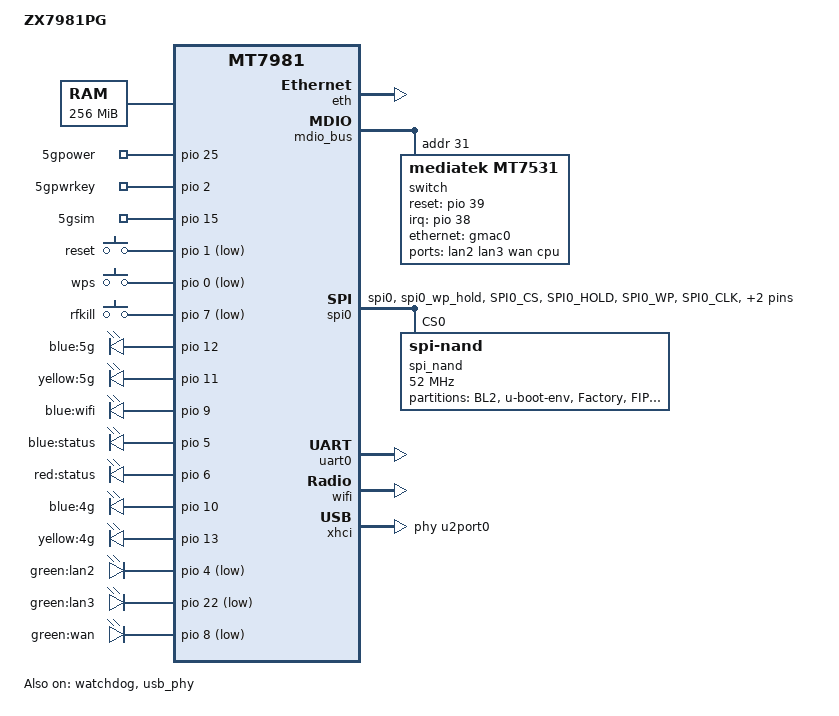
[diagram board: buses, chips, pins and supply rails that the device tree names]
// SPDX-License-Identifier: GPL-2.0-or-later OR MIT
/*
 * ZX7981PG (MediaTek MT7981B / Filogic 820)
 * Ported to ImmortalWrt kernel 6.6 from wireless-tag/zx-mtk-openwrt
 * Optimized for Quectel RM521F-GL (Snapdragon X65) in M.2 USB3 slot
 */

/dts-v1/;
#include <dt-bindings/gpio/gpio.h>
#include <dt-bindings/input/input.h>
#include <dt-bindings/leds/common.h>
#include "mt7981.dtsi"

/ {
	model = "ZX7981PG";
	compatible = "wireless-tag,zx7981pg", "mediatek,mt7981";

	aliases {
		serial0 = &uart0;
		label-mac-device = &gmac0;
		led-boot = &led_blue;
		led-failsafe = &led_red;
		led-running = &led_blue;
		led-upgrade = &led_blue;
	};

	chosen {
		stdout-path = "serial0:115200n8";
	};

	memory@40000000 {
		device_type = "memory";
		reg = <0 0x40000000 0 0x10000000>;
	};

	/* Modem power control GPIOs for M.2 slot (RM521F-GL USB3 path) */
	gpio-export {
		compatible = "gpio-export";

		modem-power {
			gpio-export,name = "5gpower";
			gpio-export,output = <0>;
			gpios = <&pio 25 GPIO_ACTIVE_HIGH>;
		};

		modem-pwrkey {
			gpio-export,name = "5gpwrkey";
			gpio-export,output = <0>;
			gpios = <&pio 2 GPIO_ACTIVE_HIGH>;
		};

		modem-sim {
			gpio-export,name = "5gsim";
			gpio-export,output = <1>;
			gpios = <&pio 15 GPIO_ACTIVE_HIGH>;
		};
	};

	gpio-keys {
		compatible = "gpio-keys";

		reset {
			label = "reset";
			linux,code = <KEY_RESTART>;
			gpios = <&pio 1 GPIO_ACTIVE_LOW>;
		};

		wps {
			label = "wps";
			linux,code = <KEY_WPS_BUTTON>;
			gpios = <&pio 0 GPIO_ACTIVE_LOW>;
		};

		rfkill {
			label = "rfkill";
			linux,code = <KEY_RFKILL>;
			gpios = <&pio 7 GPIO_ACTIVE_LOW>;
		};
	};

	gpio-leds {
		compatible = "gpio-leds";

		led-5g-blue {
			label = "blue:5g";
			gpios = <&pio 12 GPIO_ACTIVE_HIGH>;
		};

		led-5g-yellow {
			label = "yellow:5g";
			gpios = <&pio 11 GPIO_ACTIVE_HIGH>;
		};

		led-wifi {
			label = "blue:wifi";
			gpios = <&pio 9 GPIO_ACTIVE_HIGH>;
		};

		led_blue: led-blue {
			label = "blue:status";
			gpios = <&pio 5 GPIO_ACTIVE_HIGH>;
			linux,default-trigger = "heartbeat";
		};

		led_red: led-red {
			label = "red:status";
			gpios = <&pio 6 GPIO_ACTIVE_HIGH>;
		};

		led-4g-blue {
			label = "blue:4g";
			gpios = <&pio 10 GPIO_ACTIVE_HIGH>;
		};

		led-4g-yellow {
			label = "yellow:4g";
			gpios = <&pio 13 GPIO_ACTIVE_HIGH>;
		};

		led-lan2 {
			label = "green:lan2";
			gpios = <&pio 4 GPIO_ACTIVE_LOW>;
		};

		led-lan3 {
			label = "green:lan3";
			gpios = <&pio 22 GPIO_ACTIVE_LOW>;
		};

		led-wan {
			label = "green:wan";
			gpios = <&pio 8 GPIO_ACTIVE_LOW>;
		};
	};
};

&eth {
	status = "okay";

	gmac0: mac@0 {
		compatible = "mediatek,eth-mac";
		reg = <0>;
		phy-mode = "2500base-x";
		nvmem-cells = <&macaddr_factory_2a 0>;
		nvmem-cell-names = "mac-address";

		fixed-link {
			speed = <2500>;
			full-duplex;
			pause;
		};
	};
};

&mdio_bus {
	switch: switch@1f {
		compatible = "mediatek,mt7531";
		reg = <31>;
		reset-gpios = <&pio 39 GPIO_ACTIVE_HIGH>;
		interrupt-controller;
		#interrupt-cells = <1>;
		interrupt-parent = <&pio>;
		interrupts = <38 IRQ_TYPE_LEVEL_HIGH>;

		ports {
			#address-cells = <1>;
			#size-cells = <0>;

			port@1 {
				reg = <1>;
				label = "lan2";
			};

			port@2 {
				reg = <2>;
				label = "lan3";
			};

			port@3 {
				reg = <3>;
				label = "wan";
			};

			port@6 {
				reg = <6>;
				label = "cpu";
				ethernet = <&gmac0>;
				phy-mode = "2500base-x";

				fixed-link {
					speed = <2500>;
					full-duplex;
					pause;
				};
			};
		};
	};
};

&pio {
	spi0_flash_pins: spi0-pins {
		mux {
			function = "spi";
			groups = "spi0", "spi0_wp_hold";
		};

		conf-pu {
			pins = "SPI0_CS", "SPI0_HOLD", "SPI0_WP";
			drive-strength = <8>;
			mediatek,pull-up-adv = <0>;
		};

		conf-pd {
			pins = "SPI0_CLK", "SPI0_MOSI", "SPI0_MISO";
			drive-strength = <8>;
			mediatek,pull-up-adv = <0>;
		};
	};

	pcie_pins: pcie-pins {
		mux {
			function = "pcie";
			groups = "pcie_pereset", "pcie_clk", "pcie_wake";
		};
	};
};

&spi0 {
	pinctrl-names = "default";
	pinctrl-0 = <&spi0_flash_pins>;
	status = "okay";

	spi_nand: flash@0 {
		#address-cells = <1>;
		#size-cells = <1>;
		compatible = "spi-nand";
		reg = <0>;

		spi-max-frequency = <52000000>;
		spi-tx-bus-width = <4>;
		spi-rx-bus-width = <4>;

		mediatek,nmbm;
		mediatek,bmt-max-ratio = <1>;
		mediatek,bmt-max-reserved-blocks = <64>;

		partitions {
			compatible = "fixed-partitions";
			#address-cells = <1>;
			#size-cells = <1>;

			partition@0 {
				label = "BL2";
				reg = <0x0 0x100000>;
				read-only;
			};

			partition@100000 {
				label = "u-boot-env";
				reg = <0x100000 0x80000>;
			};

			factory: partition@180000 {
				label = "Factory";
				reg = <0x180000 0x200000>;
				read-only;

				nvmem-layout {
					compatible = "fixed-layout";
					#address-cells = <1>;
					#size-cells = <1>;

					eeprom_factory_0: eeprom@0 {
						reg = <0x0 0x1000>;
					};

					macaddr_factory_2a: macaddr@2a {
						compatible = "mac-base";
						reg = <0x2a 0x6>;
						#nvmem-cell-cells = <1>;
					};
				};
			};

			partition@380000 {
				label = "FIP";
				reg = <0x380000 0x200000>;
				read-only;
			};

			partition@580000 {
				label = "woem";
				reg = <0x580000 0xa0000>;
				read-only;
			};

			partition@620000 {
				label = "ubi";
				reg = <0x620000 0x3800000>;
			};
		};
	};
};

&uart0 {
	status = "okay";
};

&watchdog {
	status = "okay";
};

&wifi {
	nvmem-cells = <&eeprom_factory_0>;
	nvmem-cell-names = "eeprom";
	status = "okay";
};

&usb_phy {
	status = "okay";
};

/* USB3 enabled for RM521F-GL modem in M.2 slot */
&xhci {
	mediatek,u3p-dis-msk = <0x0>;
	phys = <&u2port0 PHY_TYPE_USB2>,
	       <&u3port0 PHY_TYPE_USB3>;
	status = "okay";
};

/* PCIe disabled - reserved for future modem upgrade path */
&pcie {
	pinctrl-names = "default";
	pinctrl-0 = <&pcie_pins>;
	status = "disabled";
};
